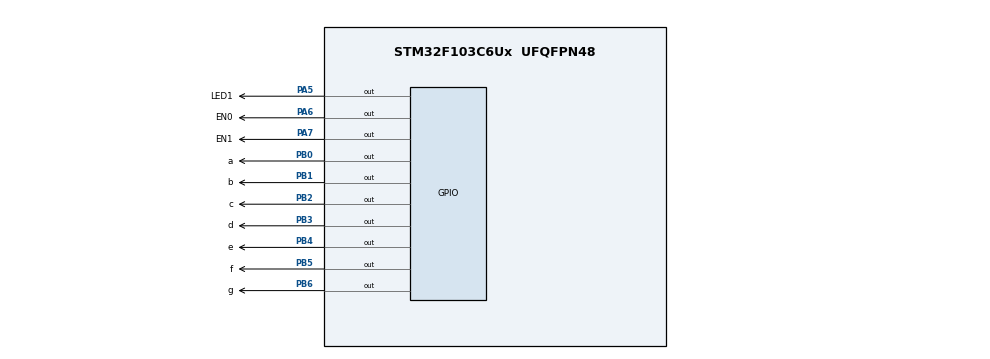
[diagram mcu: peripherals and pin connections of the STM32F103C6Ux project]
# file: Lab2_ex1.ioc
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Mcu.Family=STM32F1
Mcu.Name=STM32F103C6Ux
Mcu.Package=UFQFPN48
NVIC.PriorityGroup=NVIC_PRIORITYGROUP_4
NVIC.TIM2_IRQn=true\:0\:0\:false\:false\:true\:true\:true
PA5.GPIO_Label=LED1
PA5.Signal=GPIO_Output
PA6.GPIO_Label=EN0
PA6.Signal=GPIO_Output
PA7.GPIO_Label=EN1
PA7.Signal=GPIO_Output
PB0.GPIO_Label=a
PB0.Signal=GPIO_Output
PB1.GPIO_Label=b
PB1.Signal=GPIO_Output
PB2.GPIO_Label=c
PB2.Signal=GPIO_Output
PB3.GPIO_Label=d
PB3.Signal=GPIO_Output
PB4.GPIO_Label=e
PB4.Signal=GPIO_Output
PB5.GPIO_Label=f
PB5.Signal=GPIO_Output
PB6.GPIO_Label=g
PB6.Signal=GPIO_Output
ProjectManager.HeapSize=0x200
ProjectManager.StackSize=0x400
ProjectManager.TargetToolchain=STM32CubeIDE
RCC.APB1Freq_Value=8000000
RCC.APB2Freq_Value=8000000
TIM2.Period=9
TIM2.Prescaler=7999
VP_SYS_VS_ND.Mode=No_Debug
VP_TIM2_VS_ClockSourceINT.Mode=Internal
board=custom

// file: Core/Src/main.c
/* USER CODE BEGIN Header */
/**
  ******************************************************************************
  * @file           : main.c
  * @brief          : Main program body
  ******************************************************************************
  * @attention
  *
  * <h2><center>&copy; Copyright (c) 2024 STMicroelectronics.
  * All rights reserved.</center></h2>
  *
  * This software component is licensed by ST under BSD 3-Clause license,
  * the "License"; You may not use this file except in compliance with the
  * License. You may obtain a copy of the License at:
  *                        opensource.org/licenses/BSD-3-Clause
  *
  ******************************************************************************
  */
/* USER CODE END Header */
#include "main.h"

TIM_HandleTypeDef htim2;

void SystemClock_Config(void);
static void MX_GPIO_Init(void);
static void MX_TIM2_Init(void);

/* USER CODE BEGIN 0 */
void display7SEG(int num)
{

    if (num == 1)
    {
        HAL_GPIO_WritePin(a_GPIO_Port, a_Pin, GPIO_PIN_SET);
        HAL_GPIO_WritePin(b_GPIO_Port, b_Pin, GPIO_PIN_RESET);
        HAL_GPIO_WritePin(c_GPIO_Port, c_Pin, GPIO_PIN_RESET);
        HAL_GPIO_WritePin(d_GPIO_Port, d_Pin, GPIO_PIN_SET);
        HAL_GPIO_WritePin(e_GPIO_Port, e_Pin, GPIO_PIN_SET);
        HAL_GPIO_WritePin(f_GPIO_Port, f_Pin, GPIO_PIN_SET);
        HAL_GPIO_WritePin(g_GPIO_Port, g_Pin, GPIO_PIN_SET);
    }

    else if (num == 2)
    {
        HAL_GPIO_WritePin(a_GPIO_Port, a_Pin, GPIO_PIN_RESET);
        HAL_GPIO_WritePin(b_GPIO_Port, b_Pin, GPIO_PIN_RESET);
        HAL_GPIO_WritePin(c_GPIO_Port, c_Pin, GPIO_PIN_SET);
        HAL_GPIO_WritePin(d_GPIO_Port, d_Pin, GPIO_PIN_RESET);
        HAL_GPIO_WritePin(e_GPIO_Port, e_Pin, GPIO_PIN_RESET);
        HAL_GPIO_WritePin(f_GPIO_Port, f_Pin, GPIO_PIN_SET);
        HAL_GPIO_WritePin(g_GPIO_Port, g_Pin, GPIO_PIN_RESET);
    }

    else if (num == 3)
    {
        HAL_GPIO_WritePin(a_GPIO_Port, a_Pin, GPIO_PIN_RESET);
        HAL_GPIO_WritePin(b_GPIO_Port, b_Pin, GPIO_PIN_RESET);
        HAL_GPIO_WritePin(c_GPIO_Port, c_Pin, GPIO_PIN_RESET);
        HAL_GPIO_WritePin(d_GPIO_Port, d_Pin, GPIO_PIN_RESET);
        HAL_GPIO_WritePin(e_GPIO_Port, e_Pin, GPIO_PIN_SET);
        HAL_GPIO_WritePin(f_GPIO_Port, f_Pin, GPIO_PIN_SET);
        HAL_GPIO_WritePin(g_GPIO_Port, g_Pin, GPIO_PIN_RESET);
    }

    else if (num == 4)
    {
        HAL_GPIO_WritePin(a_GPIO_Port, a_Pin, GPIO_PIN_SET);
        HAL_GPIO_WritePin(b_GPIO_Port, b_Pin, GPIO_PIN_RESET);
        HAL_GPIO_WritePin(c_GPIO_Port, c_Pin, GPIO_PIN_RESET);
        HAL_GPIO_WritePin(d_GPIO_Port, d_Pin, GPIO_PIN_SET);
        HAL_GPIO_WritePin(e_GPIO_Port, e_Pin, GPIO_PIN_SET);
        HAL_GPIO_WritePin(f_GPIO_Port, f_Pin, GPIO_PIN_RESET);
        HAL_GPIO_WritePin(g_GPIO_Port, g_Pin, GPIO_PIN_RESET);
    }

    else if (num == 5)
    {
        HAL_GPIO_WritePin(a_GPIO_Port, a_Pin, GPIO_PIN_RESET);
        HAL_GPIO_WritePin(b_GPIO_Port, b_Pin, GPIO_PIN_SET);
        HAL_GPIO_WritePin(c_GPIO_Port, c_Pin, GPIO_PIN_RESET);
        HAL_GPIO_WritePin(d_GPIO_Port, d_Pin, GPIO_PIN_RESET);
        HAL_GPIO_WritePin(e_GPIO_Port, e_Pin, GPIO_PIN_SET);
        HAL_GPIO_WritePin(f_GPIO_Port, f_Pin, GPIO_PIN_RESET);
        HAL_GPIO_WritePin(g_GPIO_Port, g_Pin, GPIO_PIN_RESET);
    }

    else if (num == 6)
    {
        HAL_GPIO_WritePin(a_GPIO_Port, a_Pin, GPIO_PIN_RESET);
        HAL_GPIO_WritePin(b_GPIO_Port, b_Pin, GPIO_PIN_SET);
        HAL_GPIO_WritePin(c_GPIO_Port, c_Pin, GPIO_PIN_RESET);
        HAL_GPIO_WritePin(d_GPIO_Port, d_Pin, GPIO_PIN_RESET);
        HAL_GPIO_WritePin(e_GPIO_Port, e_Pin, GPIO_PIN_RESET);
        HAL_GPIO_WritePin(f_GPIO_Port, f_Pin, GPIO_PIN_RESET);
        HAL_GPIO_WritePin(g_GPIO_Port, g_Pin, GPIO_PIN_RESET);
    }

    else if (num == 7)
    {
        HAL_GPIO_WritePin(a_GPIO_Port, a_Pin, GPIO_PIN_RESET);
        HAL_GPIO_WritePin(b_GPIO_Port, b_Pin, GPIO_PIN_RESET);
        HAL_GPIO_WritePin(c_GPIO_Port, c_Pin, GPIO_PIN_RESET);
        HAL_GPIO_WritePin(d_GPIO_Port, d_Pin, GPIO_PIN_SET);
        HAL_GPIO_WritePin(e_GPIO_Port, e_Pin, GPIO_PIN_SET);
        HAL_GPIO_WritePin(f_GPIO_Port, f_Pin, GPIO_PIN_SET);
        HAL_GPIO_WritePin(g_GPIO_Port, g_Pin, GPIO_PIN_SET);
    }

    else if (num == 8)
    {
        HAL_GPIO_WritePin(a_GPIO_Port, a_Pin, GPIO_PIN_RESET);
        HAL_GPIO_WritePin(b_GPIO_Port, b_Pin, GPIO_PIN_RESET);
        HAL_GPIO_WritePin(c_GPIO_Port, c_Pin, GPIO_PIN_RESET);
        HAL_GPIO_WritePin(d_GPIO_Port, d_Pin, GPIO_PIN_RESET);
        HAL_GPIO_WritePin(e_GPIO_Port, e_Pin, GPIO_PIN_RESET);
        HAL_GPIO_WritePin(f_GPIO_Port, f_Pin, GPIO_PIN_RESET);
        HAL_GPIO_WritePin(g_GPIO_Port, g_Pin, GPIO_PIN_RESET);
    }

    else if (num == 9)
    {
        HAL_GPIO_WritePin(a_GPIO_Port, a_Pin, GPIO_PIN_RESET);
        HAL_GPIO_WritePin(b_GPIO_Port, b_Pin, GPIO_PIN_RESET);
        HAL_GPIO_WritePin(c_GPIO_Port, c_Pin, GPIO_PIN_RESET);
        HAL_GPIO_WritePin(d_GPIO_Port, d_Pin, GPIO_PIN_RESET);
        HAL_GPIO_WritePin(e_GPIO_Port, e_Pin, GPIO_PIN_SET);
        HAL_GPIO_WritePin(f_GPIO_Port, f_Pin, GPIO_PIN_RESET);
        HAL_GPIO_WritePin(g_GPIO_Port, g_Pin, GPIO_PIN_RESET);
    }
    else if (num == 0)
    {
        HAL_GPIO_WritePin(a_GPIO_Port, a_Pin, GPIO_PIN_RESET);
        HAL_GPIO_WritePin(b_GPIO_Port, b_Pin, GPIO_PIN_RESET);
        HAL_GPIO_WritePin(c_GPIO_Port, c_Pin, GPIO_PIN_RESET);
        HAL_GPIO_WritePin(d_GPIO_Port, d_Pin, GPIO_PIN_RESET);
        HAL_GPIO_WritePin(e_GPIO_Port, e_Pin, GPIO_PIN_RESET);
        HAL_GPIO_WritePin(f_GPIO_Port, f_Pin, GPIO_PIN_RESET);
        HAL_GPIO_WritePin(g_GPIO_Port, g_Pin, GPIO_PIN_SET);
    }
}

/* USER CODE END 0 */

int main(void)
{
  /* USER CODE BEGIN 1 */
//
  /* USER CODE END 1 */

  /* MCU Configuration--------------------------------------------------------*/

  /* Reset of all peripherals, Initializes the Flash interface and the Systick. */
  HAL_Init();

  /* USER CODE BEGIN Init */
//
  /* USER CODE END Init */

  /* Configure the system clock */
  SystemClock_Config();

  /* USER CODE BEGIN SysInit */
//
  /* USER CODE END SysInit */

  /* Initialize all configured peripherals */
  MX_GPIO_Init();
  MX_TIM2_Init();
  /* USER CODE BEGIN 2 */
    HAL_TIM_Base_Start_IT(&htim2);
  /* USER CODE END 2 */

  /* Infinite loop */
  while (1)
  {

  }
}
/* USER CODE BEGIN 4 */
int count = 0; // Biến đếm để xác định thời gian

void HAL_TIM_PeriodElapsedCallback(TIM_HandleTypeDef *htim) {

        count++; // Tăng biến đếm sau mỗi 10ms

        if (count <= 50) {
            HAL_GPIO_WritePin(GPIOA, GPIO_PIN_6, GPIO_PIN_RESET); // Bật EN0
            HAL_GPIO_WritePin(GPIOA, GPIO_PIN_7, GPIO_PIN_SET); // Tắt EN1
            display7SEG(1); // Hiển thị số "1" trên LED 7 đoạn đầu tiên
        } else if (count <= 100) {
            HAL_GPIO_WritePin(GPIOA, GPIO_PIN_6, GPIO_PIN_SET); // Tắt EN0
            HAL_GPIO_WritePin(GPIOA, GPIO_PIN_7, GPIO_PIN_RESET); // Bật EN1
            display7SEG(2); // Hiển thị số "2" trên LED 7 đoạn thứ hai
        }

        if (count >= 100) {
            count = 0; // Đặt lại biến đếm sau 1 giây
        }
    }

/* USER CODE END 4 */

void SystemClock_Config(void)
{
  RCC_OscInitTypeDef RCC_OscInitStruct = {0};
  RCC_ClkInitTypeDef RCC_ClkInitStruct = {0};

  /** Initializes the RCC Oscillators according to the specified parameters
  * in the RCC_OscInitTypeDef structure.
  */
  RCC_OscInitStruct.OscillatorType = RCC_OSCILLATORTYPE_HSI;
  RCC_OscInitStruct.HSIState = RCC_HSI_ON;
  RCC_OscInitStruct.HSICalibrationValue = RCC_HSICALIBRATION_DEFAULT;
  RCC_OscInitStruct.PLL.PLLState = RCC_PLL_NONE;
  if (HAL_RCC_OscConfig(&RCC_OscInitStruct) != HAL_OK)
  {
    Error_Handler();
  }
  /** Initializes the CPU, AHB and APB buses clocks
  */
  RCC_ClkInitStruct.ClockType = RCC_CLOCKTYPE_HCLK|RCC_CLOCKTYPE_SYSCLK
                              |RCC_CLOCKTYPE_PCLK1|RCC_CLOCKTYPE_PCLK2;
  RCC_ClkInitStruct.SYSCLKSource = RCC_SYSCLKSOURCE_HSI;
  RCC_ClkInitStruct.AHBCLKDivider = RCC_SYSCLK_DIV1;
  RCC_ClkInitStruct.APB1CLKDivider = RCC_HCLK_DIV1;
  RCC_ClkInitStruct.APB2CLKDivider = RCC_HCLK_DIV1;

  if (HAL_RCC_ClockConfig(&RCC_ClkInitStruct, FLASH_LATENCY_0) != HAL_OK)
  {
    Error_Handler();
  }
}

static void MX_TIM2_Init(void)
{

  TIM_ClockConfigTypeDef sClockSourceConfig = {0};
  TIM_MasterConfigTypeDef sMasterConfig = {0};

  htim2.Instance = TIM2;
  htim2.Init.Prescaler = 7999;
  htim2.Init.CounterMode = TIM_COUNTERMODE_UP;
  htim2.Init.Period = 9;
  htim2.Init.ClockDivision = TIM_CLOCKDIVISION_DIV1;
  htim2.Init.AutoReloadPreload = TIM_AUTORELOAD_PRELOAD_DISABLE;
  if (HAL_TIM_Base_Init(&htim2) != HAL_OK)
  {
    Error_Handler();
  }
  sClockSourceConfig.ClockSource = TIM_CLOCKSOURCE_INTERNAL;
  if (HAL_TIM_ConfigClockSource(&htim2, &sClockSourceConfig) != HAL_OK)
  {
    Error_Handler();
  }
  sMasterConfig.MasterOutputTrigger = TIM_TRGO_RESET;
  sMasterConfig.MasterSlaveMode = TIM_MASTERSLAVEMODE_DISABLE;
  if (HAL_TIMEx_MasterConfigSynchronization(&htim2, &sMasterConfig) != HAL_OK)
  {
    Error_Handler();
  }

}

static void MX_GPIO_Init(void)
{
  GPIO_InitTypeDef GPIO_InitStruct = {0};

  /* GPIO Ports Clock Enable */
  __HAL_RCC_GPIOA_CLK_ENABLE();
  __HAL_RCC_GPIOB_CLK_ENABLE();

  /*Configure GPIO pin Output Level */
  HAL_GPIO_WritePin(GPIOA, LED1_Pin|EN0_Pin|EN1_Pin, GPIO_PIN_RESET);

  /*Configure GPIO pin Output Level */
  HAL_GPIO_WritePin(GPIOB, a_Pin|b_Pin|c_Pin|d_Pin
                          |e_Pin|f_Pin|g_Pin, GPIO_PIN_RESET);

  /*Configure GPIO pins : LED1_Pin EN0_Pin EN1_Pin */
  GPIO_InitStruct.Pin = LED1_Pin|EN0_Pin|EN1_Pin;
  GPIO_InitStruct.Mode = GPIO_MODE_OUTPUT_PP;
  GPIO_InitStruct.Pull = GPIO_NOPULL;
  GPIO_InitStruct.Speed = GPIO_SPEED_FREQ_LOW;
  HAL_GPIO_Init(GPIOA, &GPIO_InitStruct);

  /*Configure GPIO pins : a_Pin b_Pin c_Pin d_Pin
                           e_Pin f_Pin g_Pin */
  GPIO_InitStruct.Pin = a_Pin|b_Pin|c_Pin|d_Pin
                          |e_Pin|f_Pin|g_Pin;
  GPIO_InitStruct.Mode = GPIO_MODE_OUTPUT_PP;
  GPIO_InitStruct.Pull = GPIO_NOPULL;
  GPIO_InitStruct.Speed = GPIO_SPEED_FREQ_LOW;
  HAL_GPIO_Init(GPIOB, &GPIO_InitStruct);

}

/* USER CODE BEGIN 4 */

void Error_Handler(void)
{
  __disable_irq();
  while (1)
  {
  }
}

/************************ (C) COPYRIGHT STMicroelectronics *****END OF FILE****/
